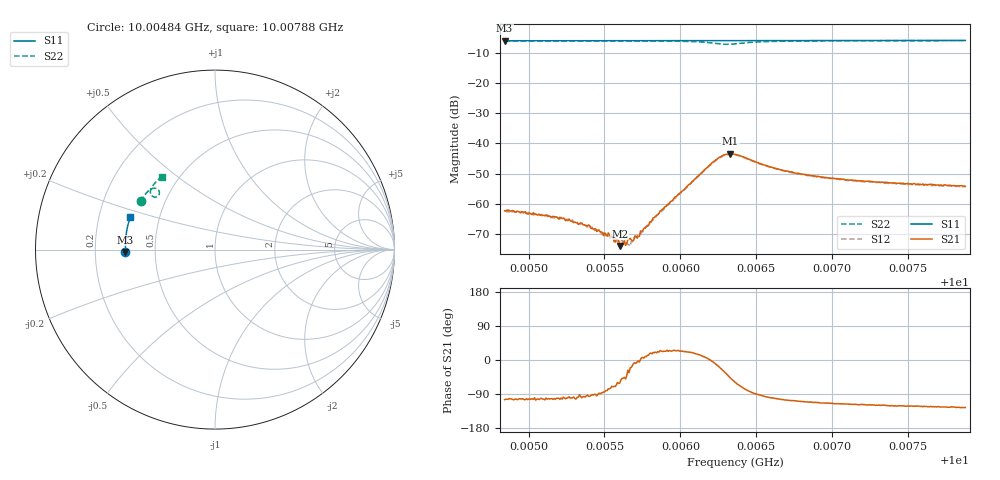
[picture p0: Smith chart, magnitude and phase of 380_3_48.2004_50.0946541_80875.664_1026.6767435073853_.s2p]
#  HZ  S  RI  R  50.00
! Rohde & Schwarz Vector Network Analyzer
! Rohde-Schwarz,ZNB20-2Port,1311601062101988,3.16
! Created: UTC 3/20/2024, 11:53:05 AM
! freq[Hz]  re:S11  im:S11  re:S21  im:S21  re:S12  im:S12  re:S22  im:S22
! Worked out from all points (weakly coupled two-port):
!   401 points, 10.00484 GHz to 10.00788 GHz, reference 50 ohm
!   highest |S21| = -43.40 dB at 10.00633 GHz (marker M1); lowest = -73.9 dB at 10.0056 GHz (marker M2)
!   lowest |S11| = -6.0 dB at 10.00484 GHz (marker M3), VSWR 2.99, Z = 16.7 - j0.554 ohm
!   |S11| at or under -10 dB: nowhere
!   |S22| runs from -7.2 to -6.0 dB; largest |S21 - S12| = 0.00039
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1.0004842e10  -0.4991 -0.0125  -0.000195 -0.000748  -0.000136 -0.000752  -0.4148 0.2684
1.0004964e10  -0.4995 -0.00465  -0.000162 -0.000721  -0.000148 -0.000712  -0.4106 0.2755
1.0005229e10  -0.4999 0.0127  -8.28e-05 -0.000581  -8.92e-05 -0.000572  -0.4005 0.2912
1.0005351e10  -0.4998 0.0206  -8.06e-05 -0.000476  -2.31e-05 -0.000446  -0.3954 0.2984
1.0005411e10  -0.4998 0.0244  -2.56e-05 -0.000392  -1.43e-05 -0.000407  -0.3931 0.302
1.0005502e10  -0.4997 0.0305  3.74e-05 -0.000329  4.94e-05 -0.000293  -0.3887 0.3076
1.000554e10  -0.4996 0.0329  7.88e-05 -0.000282  6.83e-05 -0.000263  -0.3869 0.3098
1.0005601e10  -0.4995 0.0368  9.81e-05 -0.000176  0.00015 -0.000189  -0.3839 0.3135
1.0005631e10  -0.4994 0.0388  0.00017 -0.000175  0.000189 -0.000161  -0.3823 0.3154
1.0005654e10  -0.4993 0.0402  0.000231 -0.000117  0.000187 -0.000106  -0.381 0.3169
1.0005677e10  -0.4992 0.0416  0.00024 -8.58e-05  0.00023 -7.22e-05  -0.3797 0.3183
1.000573e10  -0.499 0.0451  0.000291 -2.92e-05  0.000315 2.5e-05  -0.3766 0.3217
1.0005753e10  -0.499 0.0467  0.000364 4.01e-05  0.00034 6.15e-05  -0.3752 0.3233
1.0005859e10  -0.4983 0.0535  0.00065 0.000247  0.00063 0.000283  -0.3678 0.3298
1.0006216e10  -0.4957 0.0765  0.00492 -0.000449  0.00482 -0.00022  -0.3148 0.3313
1.0006276e10  -0.4951 0.0801  0.00563 -0.00275  0.00563 -0.0024  -0.3104 0.3109
1.0006329e10  -0.4947 0.0833  0.00457 -0.00498  0.00474 -0.00463  -0.323 0.2948
1.000636e10  -0.4945 0.0851  0.00343 -0.00563  0.00366 -0.00533  -0.3338 0.2923
1.0006625e10  -0.4924 0.1022  -0.000777 -0.00379  -0.000583 -0.00379  -0.3586 0.3317
1.0006868e10  -0.4894 0.1176  -0.00105 -0.00273  -0.00092 -0.00271  -0.3479 0.3538
1.0007377e10  -0.4818 0.1494  -0.00113 -0.00192  -0.00102 -0.00195  -0.3226 0.3833
1.0007877e10  -0.4721 0.1801  -0.00113 -0.00159  -0.00107 -0.00164  -0.2971 0.4064
